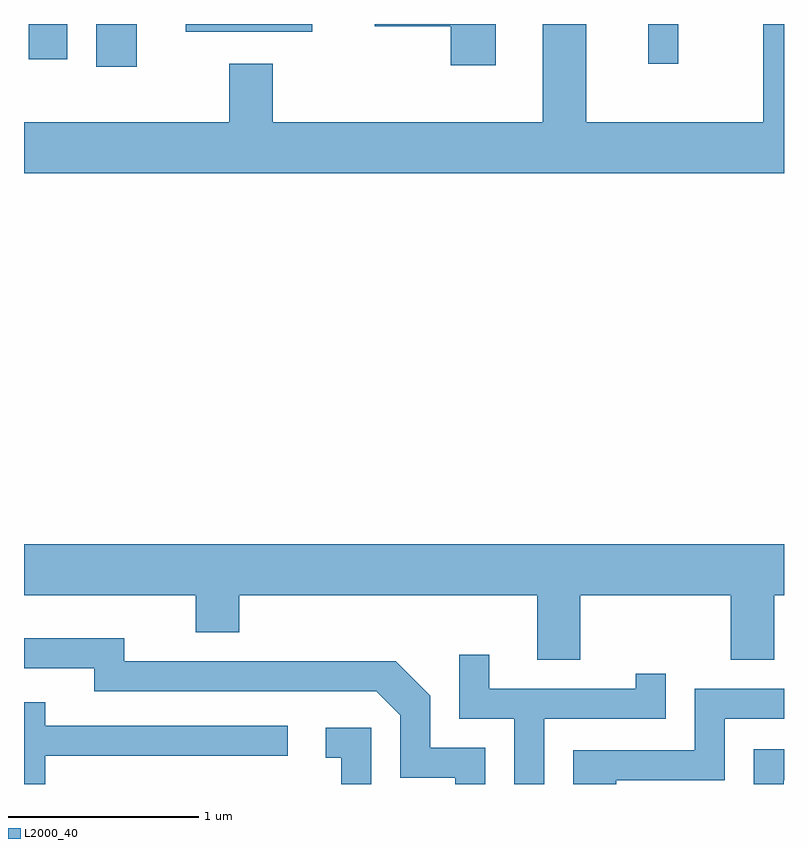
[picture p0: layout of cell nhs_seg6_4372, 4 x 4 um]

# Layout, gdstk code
import gdstk
lib = gdstk.Library(unit=1e-6, precision=1e-09)
def R(c, l, rs):  # rectangles x0, y0, x1, y1
    for r in rs: c.add(gdstk.rectangle(r[:2], r[2:], *l))
def P(c, l, *ps):  # polygons
    for p in ps: c.add(gdstk.Polygon(p, *l))
L2000_40 = (2000, 40)

nhs_seg6_4372 = lib.new_cell('nhs_seg6_4372')
R(nhs_seg6_4372, L2000_40, [(319.991,1543.936,320.204,1544.162), (322.896,1543.953,323.054,1544.162), (319.636,1543.976,319.839,1544.162), (320.461,1544.121,321.129,1544.162)])
P(nhs_seg6_4372, L2000_40, [(323.611,1544.162),(323.501,1544.162),(323.501,1543.644),(322.569,1543.644),(322.569,1544.162),(322.341,1544.162),(322.341,1543.644),(320.919,1543.644),(320.919,1543.954),(320.691,1543.954),(320.691,1543.644),(319.611,1543.644),(319.611,1543.376),(323.611,1543.376)],
  [(322.094,1544.162),(321.456,1544.162),(321.456,1544.151),(321.856,1544.151),(321.856,1543.946),(322.094,1543.946)],
  [(322.539,1541.156),(323.331,1541.156),(323.331,1540.816),(323.559,1540.816),(323.559,1541.156),(323.611,1541.156),(323.611,1541.424),(319.611,1541.424),(319.611,1541.156),(320.516,1541.156),(320.516,1540.961),(320.744,1540.961),(320.744,1541.156),(322.311,1541.156),(322.311,1540.816),(322.539,1540.816)],
  [(322.039,1540.354),(321.749,1540.354),(321.749,1540.627),(321.567,1540.809),(320.139,1540.809),(320.139,1540.929),(319.611,1540.929),(319.611,1540.771),(319.981,1540.771),(319.981,1540.651),(321.464,1540.651),(321.591,1540.524),(321.591,1540.196),(321.881,1540.196),(321.881,1540.162),(322.039,1540.162)],
  [(322.349,1540.506),(322.989,1540.506),(322.989,1540.743),(322.831,1540.743),(322.831,1540.664),(322.059,1540.664),(322.059,1540.843),(321.901,1540.843),(321.901,1540.506),(322.191,1540.506),(322.191,1540.162),(322.349,1540.162)],
  [(322.729,1540.181),(323.299,1540.181),(323.299,1540.506),(323.611,1540.506),(323.611,1540.664),(323.141,1540.664),(323.141,1540.339),(322.501,1540.339),(322.501,1540.162),(322.729,1540.162)],
  [(319.724,1540.311),(320.998,1540.311),(320.998,1540.469),(319.724,1540.469),(319.724,1540.593),(319.611,1540.593),(319.611,1540.162),(319.724,1540.162)],
  [(321.439,1540.459),(321.198,1540.459),(321.198,1540.301),(321.281,1540.301),(321.281,1540.162),(321.439,1540.162)],
  [(323.609,1540.181),(323.611,1540.181),(323.611,1540.344),(323.451,1540.344),(323.451,1540.162),(323.609,1540.162)])

lib.write_gds('nhs_seg6_4372.gds')
